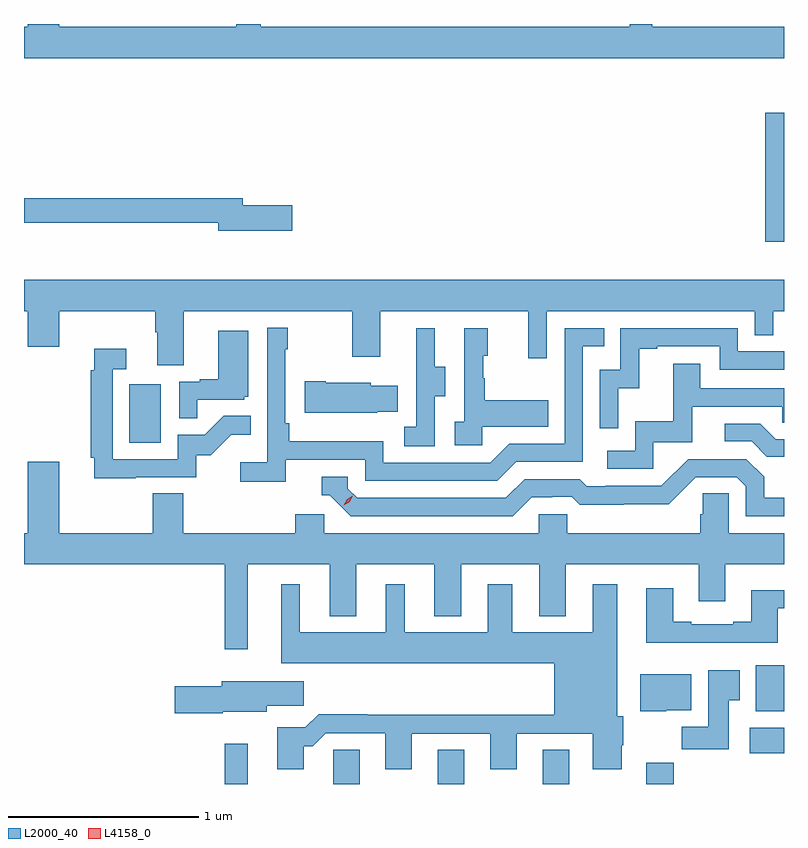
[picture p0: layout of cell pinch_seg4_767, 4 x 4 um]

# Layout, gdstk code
import gdstk
lib = gdstk.Library(unit=1e-6, precision=1e-09)
def R(c, l, rs):  # rectangles x0, y0, x1, y1
    for r in rs: c.add(gdstk.rectangle(r[:2], r[2:], *l))
def P(c, l, *ps):  # polygons
    for p in ps: c.add(gdstk.Polygon(p, *l))
L2000_40 = (2000, 40)
L4158_0 = (4158, 0)

pinch_seg4_767 = lib.new_cell('pinch_seg4_767')
R(pinch_seg4_767, L2000_40, [(813.396,824.967,813.517,825.178), (813.966,824.967,814.105,825.146), (814.517,824.967,814.657,825.146), (815.069,824.967,815.209,825.146), (815.615,824.967,815.759,825.08), (816.159,825.128,816.339,825.262), (816.191,825.35,816.339,825.592), (812.894,826.764,813.058,827.071), (816.241,827.82,816.339,828.5)])
P(pinch_seg4_767, L2000_40, [(816.339,828.952),(815.645,828.952),(815.645,828.967),(815.527,828.967),(815.527,828.952),(813.586,828.952),(813.586,828.967),(813.457,828.967),(813.457,828.952),(812.524,828.952),(812.524,828.967),(812.36,828.967),(812.36,828.952),(812.339,828.952),(812.339,828.788),(816.339,828.788)],
  [(813.751,828.014),(813.49,828.014),(813.49,828.05),(812.339,828.05),(812.339,827.922),(813.362,827.922),(813.362,827.879),(813.751,827.879)],
  [(813.181,827.456),(814.066,827.456),(814.066,827.217),(814.213,827.217),(814.213,827.456),(814.994,827.456),(814.994,827.208),(815.091,827.208),(815.091,827.456),(816.186,827.456),(816.186,827.329),(816.282,827.329),(816.282,827.456),(816.339,827.456),(816.339,827.62),(812.339,827.62),(812.339,827.456),(812.36,827.456),(812.36,827.268),(812.524,827.268),(812.524,827.456),(813.029,827.456),(813.029,827.344),(813.041,827.344),(813.041,827.17),(813.181,827.17)],
  [(813.716,826.674),(814.134,826.674),(814.134,826.563),(814.831,826.563),(814.93,826.662),(815.28,826.662),(815.28,827.271),(815.393,827.271),(815.393,827.367),(815.184,827.367),(815.184,826.758),(814.893,826.758),(814.794,826.659),(814.23,826.659),(814.23,826.771),(813.734,826.771),(813.734,826.867),(813.714,826.867),(813.714,827.255),(813.727,827.255),(813.727,827.368),(813.618,827.368),(813.618,826.66),(813.477,826.66),(813.477,826.558),(813.716,826.558)],
  [(815.466,827.051),(815.576,827.051),(815.576,827.259),(815.671,827.259),(815.671,827.271),(816,827.271),(816,827.148),(816.339,827.148),(816.339,827.244),(816.096,827.244),(816.096,827.367),(815.478,827.367),(815.478,827.148),(815.37,827.148),(815.37,826.839),(815.466,826.839)],
  [(814.5,827.008),(814.555,827.008),(814.555,827.163),(814.501,827.163),(814.501,827.365),(814.403,827.365),(814.403,827.151),(814.404,827.151),(814.404,826.847),(814.341,826.847),(814.341,826.744),(814.5,826.744)],
  [(814.752,826.847),(815.099,826.847),(815.099,826.987),(814.765,826.987),(814.765,827.102),(814.755,827.102),(814.755,827.22),(814.78,827.22),(814.78,827.365),(814.656,827.365),(814.656,826.874),(814.605,826.874),(814.605,826.749),(814.752,826.749)],
  [(813.251,826.989),(813.498,826.989),(813.498,827.004),(813.52,827.004),(813.52,827.353),(813.362,827.353),(813.362,827.098),(813.263,827.098),(813.263,827.085),(813.156,827.085),(813.156,826.891),(813.251,826.891)],
  [(812.927,826.581),(813.246,826.581),(813.246,826.698),(813.322,826.698),(813.429,826.805),(813.533,826.805),(813.533,826.904),(813.389,826.904),(813.291,826.806),(813.147,826.806),(813.147,826.677),(812.805,826.677),(812.805,827.151),(812.878,827.151),(812.878,827.257),(812.708,827.257),(812.708,827.144),(812.689,827.144),(812.689,826.684),(812.708,826.684),(812.708,826.576),(812.927,826.576)],
  [(815.652,826.767),(815.857,826.767),(815.857,826.953),(816.331,826.953),(816.331,826.869),(816.339,826.869),(816.339,827.049),(815.899,827.049),(815.899,827.179),(815.755,827.179),(815.755,826.876),(815.556,826.876),(815.556,826.722),(815.409,826.722),(815.409,826.626),(815.652,826.626)],
  [(814.199,826.925),(814.307,826.925),(814.307,827.062),(814.164,827.062),(814.164,827.08),(813.928,827.08),(813.928,827.088),(813.816,827.088),(813.816,826.922),(814.199,826.922)],
  [(816.339,826.782),(816.295,826.782),(816.214,826.863),(816.027,826.863),(816.027,826.77),(816.168,826.77),(816.248,826.69),(816.339,826.69)],
  [(815.011,826.476),(815.118,826.476),(815.118,826.479),(815.221,826.479),(815.263,826.437),(815.496,826.437),(815.496,826.439),(815.732,826.439),(815.874,826.581),(816.09,826.581),(816.138,826.533),(816.138,826.377),(816.339,826.377),(816.339,826.473),(816.235,826.473),(816.235,826.583),(816.141,826.677),(815.835,826.677),(815.694,826.536),(815.401,826.536),(815.401,826.533),(815.302,826.533),(815.263,826.572),(814.974,826.572),(814.875,826.473),(814.092,826.473),(814.044,826.521),(814.044,826.584),(813.905,826.584),(813.905,826.488),(813.948,826.488),(814.059,826.377),(814.912,826.377)],
  [(813.517,826.124),(813.947,826.124),(813.947,825.851),(814.087,825.851),(814.087,826.124),(814.499,826.124),(814.499,825.851),(814.639,825.851),(814.639,826.124),(815.051,826.124),(815.051,825.851),(815.191,825.851),(815.191,826.124),(815.891,826.124),(815.891,825.93),(816.031,825.93),(816.031,826.124),(816.339,826.124),(816.339,826.288),(816.048,826.288),(816.048,826.496),(815.911,826.496),(815.911,826.386),(815.897,826.386),(815.897,826.288),(815.199,826.288),(815.199,826.386),(815.049,826.386),(815.049,826.288),(813.918,826.288),(813.918,826.386),(813.767,826.386),(813.767,826.288),(813.176,826.288),(813.176,826.496),(813.016,826.496),(813.016,826.288),(812.524,826.288),(812.524,826.663),(812.36,826.663),(812.36,826.288),(812.339,826.288),(812.339,826.124),(813.396,826.124),(813.396,825.675),(813.517,825.675)],
  [(813.811,825.167),(813.86,825.167),(813.927,825.234),(814.241,825.234),(814.241,825.045),(814.381,825.045),(814.381,825.231),(814.793,825.231),(814.793,825.045),(814.933,825.045),(814.933,825.231),(815.333,825.231),(815.333,825.045),(815.485,825.045),(815.485,825.172),(815.493,825.172),(815.493,825.324),(815.461,825.324),(815.461,826.018),(815.333,826.018),(815.333,825.766),(814.909,825.766),(814.909,826.018),(814.781,826.018),(814.781,825.766),(814.342,825.766),(814.342,826.018),(814.244,826.018),(814.244,825.766),(813.79,825.766),(813.79,826.018),(813.692,826.018),(813.692,825.602),(815.129,825.602),(815.129,825.332),(814.145,825.332),(814.145,825.335),(813.89,825.335),(813.82,825.265),(813.671,825.265),(813.671,825.045),(813.811,825.045)],
  [(816.307,825.891),(816.339,825.891),(816.339,825.988),(816.167,825.988),(816.167,825.82),(816.071,825.82),(816.071,825.807),(815.851,825.807),(815.851,825.82),(815.755,825.82),(815.755,825.997),(815.615,825.997),(815.615,825.71),(816.307,825.71)],
  [(816.049,825.409),(816.106,825.409),(816.106,825.565),(815.939,825.565),(815.939,825.268),(815.8,825.268),(815.8,825.15),(816.049,825.15)],
  [(815.718,825.356),(815.851,825.356),(815.851,825.544),(815.582,825.544),(815.582,825.35),(815.718,825.35)],
  [(813.384,825.347),(813.616,825.347),(813.616,825.379),(813.811,825.379),(813.811,825.508),(813.38,825.508),(813.38,825.482),(813.132,825.482),(813.132,825.34),(813.384,825.34)])
P(pinch_seg4_767, L4158_0, [(814.022,826.434),(814.022,826.434),(814.039,826.466),(814.07,826.485),(814.07,826.485),(814.07,826.485),(814.053,826.453),(814.023,826.434)])

lib.write_gds('pinch_seg4_767.gds')
